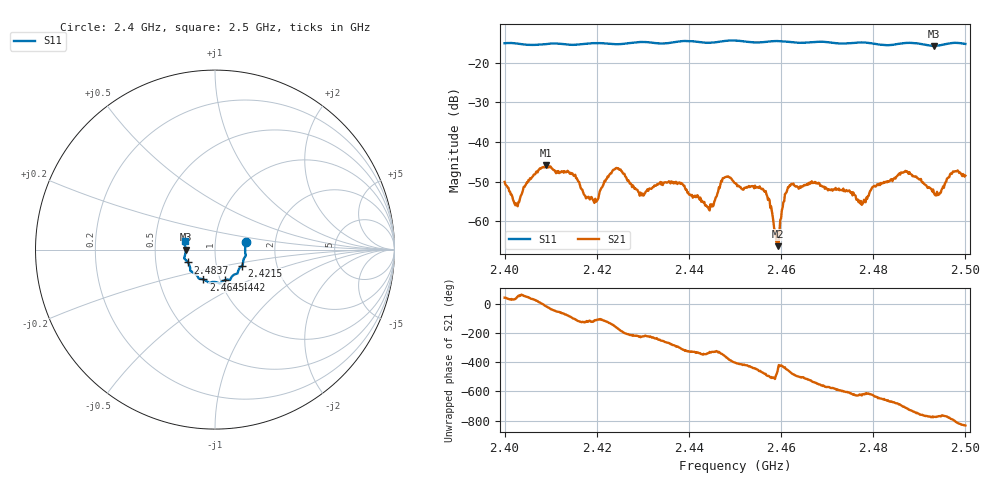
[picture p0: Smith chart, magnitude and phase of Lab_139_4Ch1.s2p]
# Hz S RI R 50
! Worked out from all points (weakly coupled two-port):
!   601 points, 2.4 GHz to 2.5 GHz, reference 50 ohm
!   highest |S21| = -45.82 dB at 2.409 GHz (marker M1); lowest = -66.3 dB at 2.4593 GHz (marker M2)
!   lowest |S11| = -15.7 dB at 2.4932 GHz (marker M3), VSWR 1.39, Z = 36 - j0.0546 ohm
!   |S11| at or under -10 dB: start of sweep to end of sweep
!   S12 and S22 are empty: the file has one direction only
!   S11 on the Smith chart (normalised r, x): 2.4 GHz: 1.41, +0.12; 2.4215 GHz: 1.33, -0.25; 2.4442 GHz: 1.05, -0.37; 2.4645 GHz: 0.83, -0.29; 2.4837 GHz: 0.73, -0.11; 2.5 GHz: 0.71, +0.07
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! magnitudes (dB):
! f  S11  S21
! 2.4 GHz  -15.1  -50.1
! 2.4027 GHz  -15.1  -55.9
! 2.409 GHz  -15.3  -45.8
! 2.4167 GHz  -15.3  -51.9
! 2.4197 GHz  -15.0  -54.3
! 2.4215 GHz  -15.1  -50.6
! 2.4243 GHz  -15.3  -46.6
! 2.4297 GHz  -14.8  -53.3
! 2.4333 GHz  -15.1  -50.7
! 2.4442 GHz  -15.0  -56.4
! 2.4475 GHz  -14.6  -49.1
! 2.45 GHz  -14.4  -50.4
! 2.4563 GHz  -14.8  -52.4
! 2.4593 GHz  -14.5  -66.3
! 2.4613 GHz  -14.7  -52.1
! 2.4645 GHz  -15.0  -51.2
! 2.4667 GHz  -14.8  -49.9
! 2.4773 GHz  -14.9  -54.9
! 2.4833 GHz  -15.6  -50.0
! 2.4837 GHz  -15.5  -49.7
! 2.4932 GHz  -15.7  -52.9
! 2.5 GHz  -15.3  -48.5
